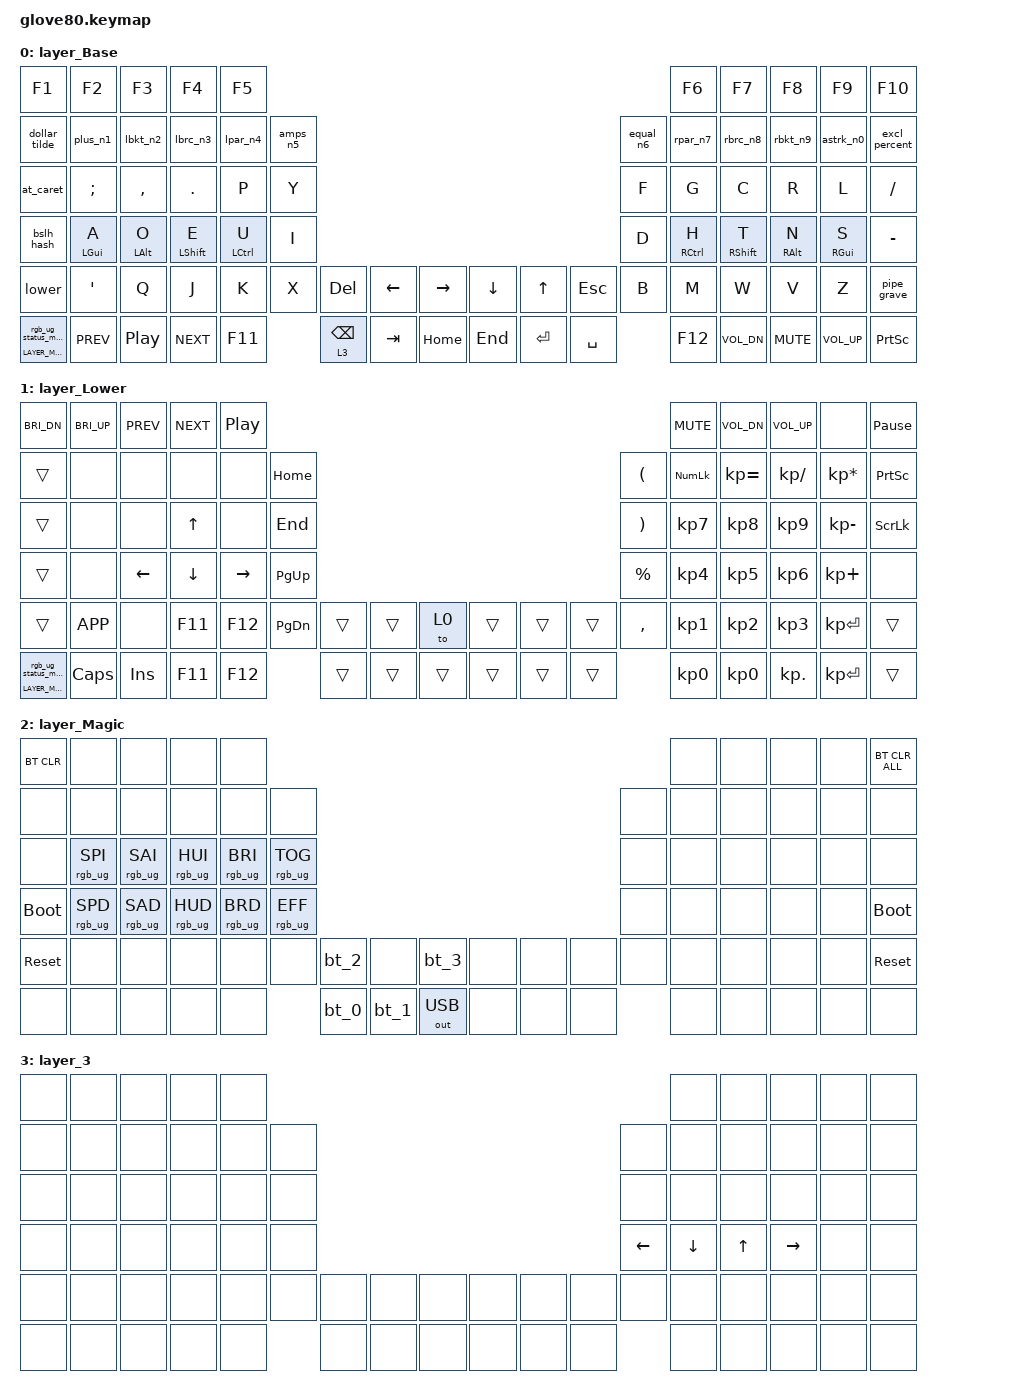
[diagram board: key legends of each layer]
/*
 * Copyright (c) 2020 The ZMK Contributors
 * Copyright (c) 2023 Innaworks Development Limited, trading as MoErgo
 *
 * SPDX-License-Identifier: MIT
 */


/* THIS FILE WAS GENERATED BY GLOVE80 LAYOUT EDITOR
 *
 * This file was generated automatically. You may or may not want to
 * edit it directly.
 */

#include <behaviors.dtsi>
/* Include all behavior includes needed */
#include <dt-bindings/zmk/outputs.h>
#include <dt-bindings/zmk/keys.h>
#include <dt-bindings/zmk/bt.h>
#include <dt-bindings/zmk/rgb.h>

/* Automatically generated layer name #define */
#define LAYER_Base 0
#define LAYER_Lower 1
#define LAYER_Magic 2
#define LAYER_3 3

/* To deal with the situation where there is no Lower layer, to keep &lower happy */
#ifndef LAYER_Lower
#define LAYER_Lower 0
#endif

/* Custom Device-tree */



/* Glove80 system behavior & macros */
/ {
    behaviors {
        // For the "layer" key, it'd nice to be able to use it as either a shift or a toggle.
        // Configure it as a tap dance, so the first tap (or hold) is a &mo and the second tap is a &to
        lower: lower {
            compatible = "zmk,behavior-tap-dance";
            label = "LAYER_TAP_DANCE";
            #binding-cells = <0>;
            tapping-term-ms = <200>;
            bindings = <&mo LAYER_Lower>, <&to LAYER_Lower>;
        };
    };
};

/ {
    macros {
        rgb_ug_status_macro: rgb_ug_status_macro {
            label = "RGB_UG_STATUS";
            compatible = "zmk,behavior-macro";
            #binding-cells = <0>;
            bindings
                = <&rgb_ug RGB_STATUS>;
        };
    };
};


/ {
#ifdef BT_DISC_CMD
    behaviors {
        bt_0: bt_0 {
            compatible = "zmk,behavior-tap-dance";
            label = "BT_0";
            #binding-cells = <0>;
            tapping-term-ms = <200>;
            bindings = <&bt_select_0>, <&bt BT_DISC 0>;
        };
        bt_1: bt_1 {
            compatible = "zmk,behavior-tap-dance";
            label = "BT_1";
            #binding-cells = <0>;
            tapping-term-ms = <200>;
            bindings = <&bt_select_1>, <&bt BT_DISC 1>;
        };
        bt_2: bt_2 {
            compatible = "zmk,behavior-tap-dance";
            label = "BT_2";
            #binding-cells = <0>;
            tapping-term-ms = <200>;
            bindings = <&bt_select_2>, <&bt BT_DISC 2>;
        };
        bt_3: bt_3 {
            compatible = "zmk,behavior-tap-dance";
            label = "BT_3";
            #binding-cells = <0>;
            tapping-term-ms = <200>;
            bindings = <&bt_select_3>, <&bt BT_DISC 3>;
        };
    };
    macros {
        bt_select_0: bt_select_0 {
            label = "BT_SELECT_0";
            compatible = "zmk,behavior-macro";
            #binding-cells = <0>;
            bindings
                = <&out OUT_BLE>,
                  <&bt BT_SEL 0>;
        };
        bt_select_1: bt_select_1 {
            label = "BT_SELECT_1";
            compatible = "zmk,behavior-macro";
            #binding-cells = <0>;
            bindings
                = <&out OUT_BLE>,
                  <&bt BT_SEL 1>;
        };
        bt_select_2: bt_select_2 {
            label = "BT_SELECT_2";
            compatible = "zmk,behavior-macro";
            #binding-cells = <0>;
            bindings
                = <&out OUT_BLE>,
                  <&bt BT_SEL 2>;
        };
        bt_select_3: bt_select_3 {
            label = "BT_SELECT_3";
            compatible = "zmk,behavior-macro";
            #binding-cells = <0>;
            bindings
                = <&out OUT_BLE>,
                  <&bt BT_SEL 3>;
        };
    };
#else
    macros {
        bt_0: bt_0 {
            label = "BT_0";
            compatible = "zmk,behavior-macro";
            #binding-cells = <0>;
            bindings
                = <&out OUT_BLE>,
                  <&bt BT_SEL 0>;
        };
        bt_1: bt_1 {
            label = "BT_1";
            compatible = "zmk,behavior-macro";
            #binding-cells = <0>;
            bindings
                = <&out OUT_BLE>,
                  <&bt BT_SEL 1>;
        };
        bt_2: bt_2 {
            label = "BT_2";
            compatible = "zmk,behavior-macro";
            #binding-cells = <0>;
            bindings
                = <&out OUT_BLE>,
                  <&bt BT_SEL 2>;
        };
        bt_3: bt_3 {
            label = "BT_3";
            compatible = "zmk,behavior-macro";
            #binding-cells = <0>;
            bindings
                = <&out OUT_BLE>,
                  <&bt BT_SEL 3>;
        };
    };
#endif
};

/ {
    behaviors {
        magic: magic {
            compatible = "zmk,behavior-hold-tap";
            label = "MAGIC_HOLD_TAP";
            #binding-cells = <2>;
            flavor = "tap-preferred";
            tapping-term-ms = <200>;
            bindings = <&mo>, <&rgb_ug_status_macro>;
        };
    };
};

/* #define for key positions */
#define POS_LH_T1 52
#define POS_LH_T2 53
#define POS_LH_T3 54
#define POS_LH_T4 69
#define POS_LH_T5 70
#define POS_LH_T6 71
#define POS_LH_C1R2 15
#define POS_LH_C1R3 27
#define POS_LH_C1R4 39
#define POS_LH_C1R5 51
#define POS_LH_C2R1 4
#define POS_LH_C2R2 14
#define POS_LH_C2R3 26
#define POS_LH_C2R4 38
#define POS_LH_C2R5 50
#define POS_LH_C2R6 68
#define POS_LH_C3R1 3
#define POS_LH_C3R2 13
#define POS_LH_C3R3 25
#define POS_LH_C3R4 37
#define POS_LH_C3R5 49
#define POS_LH_C3R6 67
#define POS_LH_C4R1 2
#define POS_LH_C4R2 12
#define POS_LH_C4R3 24
#define POS_LH_C4R4 36
#define POS_LH_C4R5 48
#define POS_LH_C4R6 66
#define POS_LH_C5R1 1
#define POS_LH_C5R2 11
#define POS_LH_C5R3 23
#define POS_LH_C5R4 35
#define POS_LH_C5R5 47
#define POS_LH_C5R6 65
#define POS_LH_C6R1 0
#define POS_LH_C6R2 10
#define POS_LH_C6R3 22
#define POS_LH_C6R4 34
#define POS_LH_C6R5 46
#define POS_LH_C6R6 64
#define POS_RH_T1 57
#define POS_RH_T2 56
#define POS_RH_T3 55
#define POS_RH_T4 74
#define POS_RH_T5 73
#define POS_RH_T6 72
#define POS_RH_C1R2 16
#define POS_RH_C1R3 28
#define POS_RH_C1R4 40
#define POS_RH_C1R5 58
#define POS_RH_C2R1 5
#define POS_RH_C2R2 17
#define POS_RH_C2R3 29
#define POS_RH_C2R4 41
#define POS_RH_C2R5 59
#define POS_RH_C2R6 75
#define POS_RH_C3R1 6
#define POS_RH_C3R2 18
#define POS_RH_C3R3 30
#define POS_RH_C3R4 42
#define POS_RH_C3R5 60
#define POS_RH_C3R6 76
#define POS_RH_C4R1 7
#define POS_RH_C4R2 19
#define POS_RH_C4R3 31
#define POS_RH_C4R4 43
#define POS_RH_C4R5 61
#define POS_RH_C4R6 77
#define POS_RH_C5R1 8
#define POS_RH_C5R2 20
#define POS_RH_C5R3 32
#define POS_RH_C5R4 44
#define POS_RH_C5R5 62
#define POS_RH_C5R6 78
#define POS_RH_C6R1 9
#define POS_RH_C6R2 21
#define POS_RH_C6R3 33
#define POS_RH_C6R4 45
#define POS_RH_C6R5 63
#define POS_RH_C6R6 79

/* Custom Defined Behaviors */
/ {
    behaviors {
      lh_pht: home_row_left_mod_tap {
        compatible = "zmk,behavior-hold-tap";
        #binding-cells = <2>;
        flavor = "balanced";
        tapping-term-ms = <180>;
        quick-tap-ms = <200>;
        require-prior-idle-ms = <100>;
        bindings = <&kp>, <&kp>;
      };

      rh_pht: home_row_right_mod_tap {
        compatible = "zmk,behavior-hold-tap";
        #binding-cells = <2>;
        flavor = "balanced";
        tapping-term-ms = <180>;
        quick-tap-ms = <200>;
        require-prior-idle-ms = <100>;
        bindings = <&kp>, <&kp>;
      };

       dollar_tilde: dollar_tilde {
            compatible = "zmk,behavior-mod-morph";
            #binding-cells = <0>;
            bindings = <&kp DOLLAR>, <&kp TILDE>;

            mods = <(MOD_LSFT|MOD_RSFT)>;
        };

        dollar_hash: dollar_hash {
            compatible = "zmk,behavior-mod-morph";
            #binding-cells = <0>;
            bindings = <&kp DOLLAR>, <&kp HASH>;

            mods = <(MOD_LSFT|MOD_RSFT)>;
        };

        plus_n1: plus_n1 {
            compatible = "zmk,behavior-mod-morph";
            #binding-cells = <0>;
            bindings = <&kp PLUS>, <&kp N1>;

            mods = <(MOD_LSFT|MOD_RSFT|MOD_LALT|MOD_RALT)>;
            keep-mods = <(MOD_LALT|MOD_RALT)>;
        };

        lbkt_n2: lbkt_n2 {
            compatible = "zmk,behavior-mod-morph";
            #binding-cells = <0>;
            bindings = <&kp LBKT>, <&kp N2>;

            mods = <(MOD_LSFT|MOD_RSFT|MOD_LALT|MOD_RALT)>;
            keep-mods = <(MOD_LALT|MOD_RALT)>;
        };

        lbrc_n3: lbrc_n3 {
            compatible = "zmk,behavior-mod-morph";
            #binding-cells = <0>;
            bindings = <&kp LBRC>, <&kp N3>;

            mods = <(MOD_LSFT|MOD_RSFT|MOD_LALT|MOD_RALT)>;
            keep-mods = <(MOD_LALT|MOD_RALT)>;
        };

        lpar_n4: lpar_n4 {
            compatible = "zmk,behavior-mod-morph";
            #binding-cells = <0>;
            bindings = <&kp LPAR>, <&kp N4>;

            mods = <(MOD_LSFT|MOD_RSFT|MOD_LALT|MOD_RALT)>;
            keep-mods = <(MOD_LALT|MOD_RALT)>;
        };

        amps_n5: amps_n5 {
            compatible = "zmk,behavior-mod-morph";
            #binding-cells = <0>;
            bindings = <&kp AMPS>, <&kp N5>;

            mods = <(MOD_LSFT|MOD_RSFT|MOD_LALT|MOD_RALT)>;
            keep-mods = <(MOD_LALT|MOD_RALT)>;
        };

        equal_n6: equal_n6 {
            compatible = "zmk,behavior-mod-morph";
            #binding-cells = <0>;
            bindings = <&kp EQUAL>, <&kp N6>;

            mods = <(MOD_LSFT|MOD_RSFT|MOD_LALT|MOD_RALT)>;
            keep-mods = <(MOD_LALT|MOD_RALT)>;
        };

        rpar_n7: rpar_n7 {
            compatible = "zmk,behavior-mod-morph";
            #binding-cells = <0>;
            bindings = <&kp RPAR>, <&kp N7>;

            mods = <(MOD_LSFT|MOD_RSFT|MOD_LALT|MOD_RALT)>;
            keep-mods = <(MOD_LALT|MOD_RALT)>;
        };

        rbrc_n8: rbrc_n8 {
            compatible = "zmk,behavior-mod-morph";
            #binding-cells = <0>;
            bindings = <&kp RBRC>, <&kp N8>;

            mods = <(MOD_LSFT|MOD_RSFT|MOD_LALT|MOD_RALT)>;
            keep-mods = <(MOD_LALT|MOD_RALT)>;
        };

        rbkt_n9: rbkt_n9 {
            compatible = "zmk,behavior-mod-morph";
            #binding-cells = <0>;
            bindings = <&kp RBKT>, <&kp N9>;

            mods = <(MOD_LSFT|MOD_RSFT|MOD_LALT|MOD_RALT)>;
            keep-mods = <(MOD_LALT|MOD_RALT)>;
        };

        astrk_n0: astrk_n0 {
            compatible = "zmk,behavior-mod-morph";
            #binding-cells = <0>;
            bindings = <&kp ASTRK>, <&kp N0>;

            mods = <(MOD_LSFT|MOD_RSFT|MOD_LALT|MOD_RALT)>;
            keep-mods = <(MOD_LALT|MOD_RALT)>;
        };

        excl_percent: excl_percent {
            compatible = "zmk,behavior-mod-morph";
            #binding-cells = <0>;
            bindings = <&kp EXCL>, <&kp PERCENT>;

            mods = <(MOD_LSFT|MOD_RSFT)>;
        };

        at_caret: at_caret {
            compatible = "zmk,behavior-mod-morph";
            #binding-cells = <0>;
            bindings = <&kp AT>, <&kp CARET>;

            mods = <(MOD_LSFT|MOD_RSFT)>;
        };

        bslh_hash: bslh_hash {
            compatible = "zmk,behavior-mod-morph";
            #binding-cells = <0>;
            bindings = <&kp BSLH>, <&kp HASH>;

            mods = <(MOD_LSFT|MOD_RSFT)>;
        };

        pipe_grave: pipe_grave {
            compatible = "zmk,behavior-mod-morph";
            #binding-cells = <0>;
            bindings = <&kp PIPE>, <&kp GRAVE>;

            mods = <(MOD_LSFT|MOD_RSFT)>;
        };
    };
};

/* Automatically generated macro definitions */
/ {
    macros {

    };
};

/* Automatically generated keymap */
/ {
    keymap {
        compatible = "zmk,keymap";


        layer_Base {
            bindings = <
        &kp F1                 &kp F2          &kp F3          &kp F4           &kp F5                                                                                                    &kp F6           &kp F7            &kp F8          &kp F9             &kp F10
        &dollar_tilde          &plus_n1        &lbkt_n2        &lbrc_n3         &lpar_n4         &amps_n5                                                                      &equal_n6  &rpar_n7         &rbrc_n8          &rbkt_n9        &astrk_n0          &excl_percent
        &at_caret              &kp SEMI        &kp COMMA       &kp DOT          &kp P            &kp Y                                                                         &kp F      &kp G            &kp C             &kp R           &kp L              &kp FSLH
        &bslh_hash             &lh_pht LGUI A  &lh_pht LALT O  &lh_pht LSHFT E  &lh_pht LCTRL U  &kp I                                                                         &kp D      &rh_pht RCTRL H  &rh_pht RSHIFT T  &rh_pht RALT N  &rh_pht RGUI S     &kp MINUS
        &lower                 &kp SQT         &kp Q           &kp J            &kp K            &kp X    &kp DEL     &kp LEFT  &kp RIGHT      &kp DOWN  &kp UP  &kp ESC       &kp B      &kp M            &kp W             &kp V           &kp Z              &pipe_grave
        &magic LAYER_Magic 0   &kp C_PREV      &kp C_PP        &kp C_NEXT       &kp F11                   &lt 3 BSPC  &kp TAB   &kp HOME       &kp END   &kp RET &kp SPACE                &kp F12          &kp C_VOL_DN      &kp C_MUTE      &kp C_VOL_UP       &kp PSCRN
            >;
        };

        layer_Lower {
            bindings = <
         &kp C_BRI_DN  &kp C_BRI_UP      &kp C_PREV      &kp C_NEXT         &kp C_PP                                                                                    &kp C_MUTE  &kp C_VOL_DN  &kp C_VOL_UP            &none  &kp PAUSE_BREAK
               &trans         &none           &none           &none            &none   &kp HOME                                                   &kp LEFT_PARENTHESIS  &kp KP_NUM  &kp KP_EQUAL  &kp KP_SLASH  &kp KP_MULTIPLY  &kp PRINTSCREEN
               &trans         &none           &none    &kp UP_ARROW            &none    &kp END                                                  &kp RIGHT_PARENTHESIS   &kp KP_N7     &kp KP_N8     &kp KP_N9     &kp KP_MINUS   &kp SCROLLLOCK
               &trans         &none  &kp LEFT_ARROW  &kp DOWN_ARROW  &kp RIGHT_ARROW  &kp PG_UP                                                            &kp PERCENT   &kp KP_N4     &kp KP_N5     &kp KP_N6      &kp KP_PLUS            &none
               &trans     &kp K_APP           &none         &kp F11          &kp F12  &kp PG_DN  &trans  &trans   &to 0  &trans  &trans  &trans              &kp COMMA   &kp KP_N1     &kp KP_N2     &kp KP_N3     &kp KP_ENTER           &trans
 &magic LAYER_Magic 0      &kp CAPS         &kp INS         &kp F11          &kp F12             &trans  &trans  &trans  &trans  &trans  &trans                          &kp KP_N0     &kp KP_N0    &kp KP_DOT     &kp KP_ENTER           &trans
            >;
        };

        layer_Magic {
            bindings = <
  &bt BT_CLR            &none            &none            &none            &none                                                                                  &none   &none   &none   &none  &bt BT_CLR_ALL
       &none            &none            &none            &none            &none            &none                                                         &none   &none   &none   &none   &none           &none
       &none  &rgb_ug RGB_SPI  &rgb_ug RGB_SAI  &rgb_ug RGB_HUI  &rgb_ug RGB_BRI  &rgb_ug RGB_TOG                                                         &none   &none   &none   &none   &none           &none
 &bootloader  &rgb_ug RGB_SPD  &rgb_ug RGB_SAD  &rgb_ug RGB_HUD  &rgb_ug RGB_BRD  &rgb_ug RGB_EFF                                                         &none   &none   &none   &none   &none     &bootloader
  &sys_reset            &none            &none            &none            &none            &none   &bt_2   &none         &bt_3   &none   &none   &none   &none   &none   &none   &none   &none      &sys_reset
       &none            &none            &none            &none            &none                    &bt_0   &bt_1  &out OUT_USB   &none   &none   &none           &none   &none   &none   &none           &none
            >;
        };

        layer_3 {
            bindings = <
  &none   &none   &none   &none   &none                                                                       &none   &none      &none   &none   &none
  &none   &none   &none   &none   &none   &none                                                     &none     &none   &none      &none   &none   &none
  &none   &none   &none   &none   &none   &none                                                     &none     &none   &none      &none   &none   &none
  &none   &none   &none   &none   &none   &none                                                  &kp LEFT  &kp DOWN  &kp UP  &kp RIGHT   &none   &none
  &none   &none   &none   &none   &none   &none   &none   &none   &none   &none   &none   &none     &none     &none   &none      &none   &none   &none
  &none   &none   &none   &none   &none           &none   &none   &none   &none   &none   &none               &none   &none      &none   &none   &none
            >;
        };

    };
};
